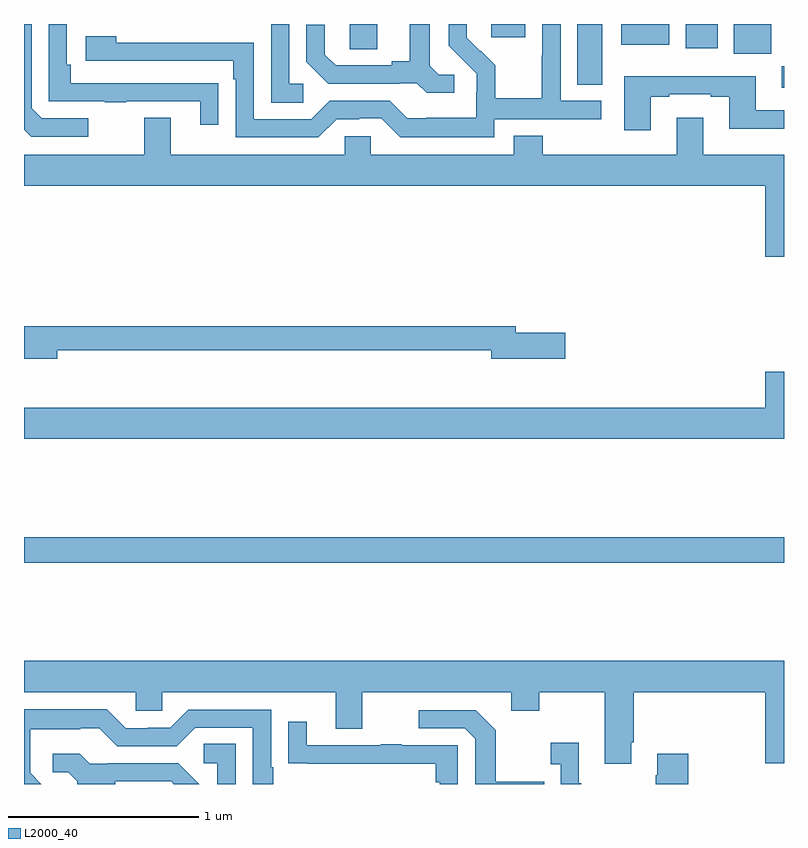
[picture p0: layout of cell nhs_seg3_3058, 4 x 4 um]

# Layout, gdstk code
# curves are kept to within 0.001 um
import gdstk
lib = gdstk.Library(unit=1e-6, precision=1e-09)
def R(c, l, rs):  # rectangles x0, y0, x1, y1
    for r in rs: c.add(gdstk.rectangle(r[:2], r[2:], *l))
def P(c, l, *ps):  # polygons
    for p in ps: c.add(gdstk.Polygon(p, *l))
L2000_40 = (2000, 40)

nhs_seg3_3058 = lib.new_cell('nhs_seg3_3058')
R(nhs_seg3_3058, L2000_40, [(269,733.564,273,733.7), (272.987,736.065,273,736.178), (271.913,736.081,272.044,736.4), (272.735,736.244,272.932,736.4), (270.714,736.267,270.859,736.4), (272.483,736.272,272.65,736.4), (272.144,736.292,272.395,736.4), (271.46,736.329,271.639,736.4)])
P(nhs_seg3_3058, L2000_40, [(269.338,735.903),(269.094,735.903),(269.04,735.957),(269.04,736.4),(269,736.4),(269,735.844),(269.037,735.807),(269.338,735.807)],
  [(270.469,736.086),(270.396,736.086),(270.396,736.4),(270.3,736.4),(270.3,735.985),(270.469,735.985)],
  [(270.023,736.088),(269.921,736.088),(269.921,736.089),(269.246,736.089),(269.246,736.186),(269.226,736.186),(269.226,736.4),(269.13,736.4),(269.13,735.993),(269.425,735.993),(269.425,735.988),(269.537,735.988),(269.537,735.993),(269.927,735.993),(269.927,735.87),(270.023,735.87)],
  [(271.476,735.9),(272.038,735.9),(272.038,735.996),(271.824,735.996),(271.824,736.4),(271.728,736.4),(271.728,736.232),(271.726,736.232),(271.726,736.009),(271.481,736.009),(271.481,736.183),(271.404,736.26),(271.401,736.257),(271.331,736.328),(271.331,736.4),(271.236,736.4),(271.236,736.286),(271.382,736.138),(271.382,736.041),(271.38,736.041),(271.38,735.907),(271.117,735.907),(271.117,735.903),(271.017,735.903),(270.924,735.996),(270.609,735.996),(270.513,735.9),(270.21,735.9),(270.21,736.302),(269.486,736.302),(269.486,736.336),(269.325,736.336),(269.325,736.206),(270.101,736.206),(270.101,736.109),(270.114,736.109),(270.114,735.804),(270.549,735.804),(270.645,735.9),(270.764,735.9),(270.764,735.903),(270.879,735.903),(270.979,735.803),(271.476,735.803)],
  [(271.264,736.134),(271.182,736.134),(271.135,736.181),(271.135,736.4),(271.031,736.4),(271.031,736.205),(270.935,736.205),(270.935,736.182),(270.64,736.182),(270.583,736.239),(270.583,736.396),(270.486,736.396),(270.486,736.202),(270.602,736.086),(270.974,736.086),(270.974,736.089),(271.068,736.089),(271.12,736.037),(271.264,736.037)],
  [(272.299,736.017),(272.395,736.017),(272.395,736.029),(272.615,736.029),(272.615,736.017),(272.711,736.017),(272.711,735.848),(273,735.848),(273,735.945),(272.851,735.945),(272.851,736.126),(272.159,736.126),(272.159,735.84),(272.299,735.84)],
  [(273,735.712),(272.575,735.712),(272.575,735.907),(272.435,735.907),(272.435,735.712),(271.73,735.712),(271.73,735.811),(271.577,735.811),(271.577,735.712),(270.825,735.712),(270.825,735.81),(270.687,735.81),(270.687,735.712),(269.773,735.712),(269.773,735.907),(269.633,735.907),(269.633,735.712),(269,735.712),(269,735.548),(272.9,735.548),(272.9,735.174),(273,735.174)],
  [(269.176,734.682),(271.46,734.682),(271.46,734.639),(271.849,734.639),(271.849,734.774),(271.588,734.774),(271.588,734.81),(269,734.81),(269,734.639),(269.176,734.639)],
  [(273,734.569),(272.9,734.569),(272.9,734.38),(269,734.38),(269,734.216),(273,734.216)],
  [(272.197,732.619),(272.21,732.619),(272.21,732.884),(272.9,732.884),(272.9,732.51),(273,732.51),(273,733.048),(269,733.048),(269,732.884),(269.589,732.884),(269.589,732.786),(269.727,732.786),(269.727,732.884),(270.641,732.884),(270.641,732.69),(270.781,732.69),(270.781,732.884),(271.565,732.884),(271.565,732.785),(271.713,732.785),(271.713,732.884),(272.057,732.884),(272.057,732.507),(272.197,732.507)],
  [(269.032,732.458),(269.032,732.555),(269.034,732.555),(269.034,732.689),(269.297,732.689),(269.297,732.693),(269.397,732.693),(269.49,732.6),(269.805,732.6),(269.901,732.696),(270.204,732.696),(270.204,732.4),(270.313,732.4),(270.313,732.487),(270.3,732.487),(270.3,732.792),(269.865,732.792),(269.769,732.696),(269.651,732.696),(269.651,732.693),(269.535,732.693),(269.435,732.793),(269,732.793),(269,732.4),(269.09,732.4)],
  [(271.739,732.411),(271.483,732.411),(271.483,732.683),(271.377,732.789),(271.077,732.789),(271.077,732.693),(271.32,732.693),(271.374,732.639),(271.374,732.4),(271.739,732.4)],
  [(271.284,732.603),(270.989,732.603),(270.989,732.608),(270.877,732.608),(270.877,732.603),(270.487,732.603),(270.487,732.727),(270.391,732.727),(270.391,732.508),(270.493,732.508),(270.493,732.507),(271.168,732.507),(271.168,732.41),(271.188,732.41),(271.188,732.4),(271.284,732.4)],
  [(271.933,732.403),(271.921,732.403),(271.921,732.616),(271.773,732.616),(271.773,732.503),(271.824,732.503),(271.824,732.4),(271.933,732.4)],
  [(270.114,732.611),(269.946,732.611),(269.946,732.51),(270.018,732.51),(270.018,732.4),(270.114,732.4)],
  [(269.479,732.414),(269.774,732.414),(269.788,732.4),(269.922,732.4),(269.812,732.51),(269.44,732.51),(269.44,732.507),(269.346,732.507),(269.294,732.559),(269.151,732.559),(269.151,732.462),(269.232,732.462),(269.279,732.415),(269.279,732.4),(269.479,732.4)],
  [(272.496,732.559),(272.333,732.559),(272.333,732.446),(272.326,732.446),(272.326,732.4),(272.496,732.4)])

lib.write_gds('nhs_seg3_3058.gds')
